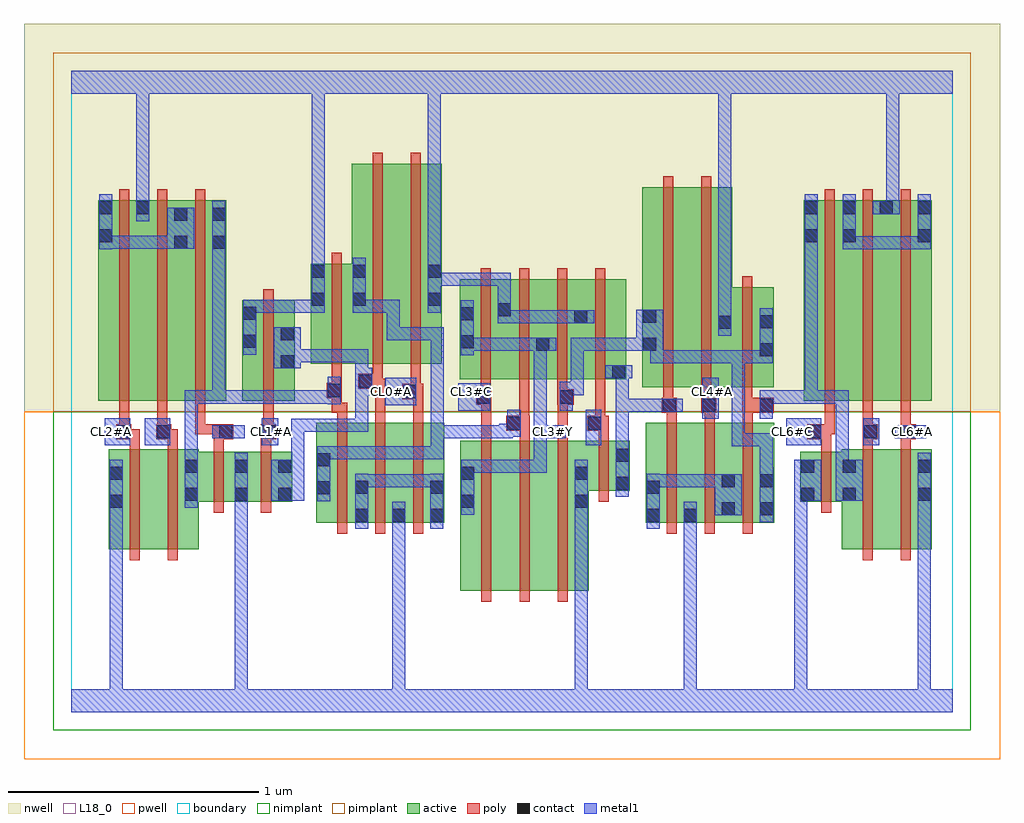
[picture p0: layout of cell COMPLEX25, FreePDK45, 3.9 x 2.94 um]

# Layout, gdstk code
import gdstk
lib = gdstk.Library(unit=1e-6, precision=1e-09)
def R(c, l, rs):  # rectangles x0, y0, x1, y1
    for r in rs: c.add(gdstk.rectangle(r[:2], r[2:], *l))
def A(c, l, x, y, w, h, nx, ny, dx, dy):  # array of equal rectangles
    R(c, l, [(x+i*dx, y+j*dy, x+i*dx+w, y+j*dy+h) for i in range(nx) for j in range(ny)])
active = (1, 0)
pwell = (2, 0)
nwell = (3, 0)
nimplant = (4, 0)
pimplant = (5, 0)
poly = (9, 0)
contact = (10, 0)
metal1 = (11, 0)
L18_0 = (18, 0)
boundary = (235, 0)

complex25 = lib.new_cell('COMPLEX25')
A(complex25, active, 1.7, 1.328, 0.212, 0.4, 3, 1, 0.152, 0)
R(complex25, active, [(1.554,0.484,1.734,1.084), (1.554,0.484,1.614,1.084), (1.734,0.484,1.886,1.084), (1.886,0.484,2.066,1.084), (0.15,0.65,0.33,1.05), (0.33,0.65,0.51,1.05), (3.076,0.65,3.256,1.05), (3.256,0.65,3.436,1.05), (0.15,0.756,0.21,1.05), (0.978,0.756,1.038,1.156), (0.978,0.756,1.19,1.156), (1.13,0.756,1.19,1.156), (1.13,0.756,1.338,1.156), (1.278,0.756,1.338,1.156), (1.278,0.756,1.49,1.156), (1.43,0.756,1.49,1.156), (2.294,0.756,2.354,1.156), (2.294,0.756,2.502,1.156), (2.442,0.756,2.654,1.156), (2.442,0.756,2.502,0.816), (2.594,0.756,2.654,1.156), (2.594,0.756,2.806,1.156), (2.746,0.756,2.806,1.156), (3.376,0.756,3.436,1.05), (2.006,0.812,2.066,1.084), (0.45,0.84,0.51,1.012), (0.45,0.84,0.71,1.04), (0.65,0.84,0.71,1.012), (0.65,0.84,0.882,1.04), (0.822,0.84,0.882,1.04), (2.91,0.84,3.136,1.04), (2.91,0.84,2.97,1.04), (3.076,0.84,3.136,1.012), (2.006,0.884,2.23,1.084), (2.17,0.884,2.23,1.084), (0.108,1.244,0.168,2.044), (0.108,1.244,0.316,2.044), (0.256,1.244,0.468,2.044), (0.408,1.244,0.468,2.044), (0.408,1.244,0.62,2.044), (0.56,1.244,0.62,2.044), (0.684,1.244,0.744,1.644), (0.684,1.244,0.892,1.644), (0.832,1.244,0.892,1.644), (2.924,1.244,2.984,2.044), (2.924,1.244,3.136,2.044), (3.076,1.244,3.136,2.044), (3.076,1.244,3.284,2.044), (3.224,1.244,3.284,2.044), (3.224,1.244,3.436,2.044), (3.376,1.244,3.436,2.044), (2.28,1.296,2.46,2.096), (2.28,1.296,2.34,2.044), (2.46,1.296,2.64,2.096), (2.58,1.296,2.64,2.096), (2.58,1.296,2.804,1.696), (2.744,1.296,2.804,1.696), (1.552,1.328,1.76,1.728), (1.552,1.328,1.612,1.644), (1.7,1.328,1.76,1.644), (1.852,1.328,1.912,1.644), (2.156,1.328,2.216,1.644), (0.956,1.39,1.016,1.79), (0.956,1.39,1.18,1.79), (1.12,1.39,1.18,1.79), (1.12,1.39,1.3,2.19), (1.3,1.39,1.48,2.19), (1.42,1.39,1.48,2.044), (2.004,1.444,2.064,1.728), (0.256,1.686,0.316,2.044)])
R(complex25, pwell, [(-0.188,-0.188,3.708,1.2)])
R(complex25, nwell, [(-0.188,1.2,3.708,2.748)])
R(complex25, nimplant, [(-0.072,-0.072,3.592,1.2)])
R(complex25, pimplant, [(-0.072,1.2,3.592,2.632)])
A(complex25, poly, 1.638, 0.44, 0.04, 0.688, 3, 1, 0.152, 0)
A(complex25, poly, 1.062, 0.712, 0.04, 0.488, 3, 1, 0.152, 0)
A(complex25, poly, 2.378, 0.712, 0.04, 0.488, 3, 1, 0.152, 0)
A(complex25, poly, 0.192, 1.11, 0.04, 0.13, 3, 1, 0.152, 0)
A(complex25, poly, 3.008, 1.11, 0.04, 0.13, 3, 1, 0.152, 0)
A(complex25, poly, 2.378, 1.16, 0.04, 0.076, 3, 1, 0.152, 0)
A(complex25, poly, 0.192, 1.2, 0.04, 0.888, 3, 1, 0.152, 0)
A(complex25, poly, 3.008, 1.2, 0.04, 0.888, 3, 1, 0.152, 0)
A(complex25, poly, 1.636, 1.284, 0.04, 0.488, 4, 1, 0.152, 0)
R(complex25, poly, [(0.234,0.606,0.274,1.094), (0.386,0.606,0.426,1.094), (3.16,0.606,3.2,1.094), (3.312,0.606,3.352,1.094), (0.57,0.796,0.61,1.084), (0.758,0.796,0.798,1.084), (2.994,0.796,3.034,1.084), (2.106,0.84,2.146,1.128), (0.57,1.044,0.61,1.13), (0.758,1.044,0.798,1.13), (2.994,1.044,3.034,1.13), (0.234,1.054,0.274,1.13), (0.386,1.054,0.426,1.13), (3.16,1.054,3.2,1.13), (3.312,1.054,3.352,1.13), (1.638,1.088,1.678,1.268), (1.79,1.088,1.83,1.164), (1.942,1.088,1.982,1.268), (2.106,1.088,2.146,1.164), (0.18,1.09,0.24,1.15), (0.2,1.09,0.24,1.13), (0.2,1.09,0.274,1.13), (0.34,1.09,0.4,1.15), (0.36,1.09,0.4,1.13), (0.36,1.09,0.426,1.13), (0.57,1.09,0.648,1.15), (0.758,1.09,0.818,1.15), (2.938,1.09,3.034,1.15), (3.16,1.09,3.2,1.13), (3.16,1.09,3.2,1.13), (3.16,1.09,3.22,1.15), (3.312,1.09,3.352,1.13), (3.312,1.09,3.352,1.13), (3.312,1.09,3.372,1.15), (0.496,1.11,0.61,1.15), (0.57,1.11,0.61,1.15), (0.768,1.11,0.808,1.24), (0.768,1.11,0.808,1.15), (0.768,1.11,0.808,1.15), (2.994,1.11,3.034,1.15), (2.994,1.11,3.048,1.15), (1.738,1.124,1.83,1.184), (2.06,1.124,2.146,1.184), (1.788,1.144,1.828,1.184), (1.788,1.144,1.828,1.184), (1.788,1.144,1.828,1.324), (2.092,1.144,2.132,1.184), (2.092,1.144,2.132,1.184), (2.092,1.144,2.132,1.324), (1.062,1.16,1.102,1.236), (1.214,1.16,1.254,1.33), (1.366,1.16,1.406,1.29), (1.04,1.196,1.08,1.294), (1.04,1.196,1.102,1.236), (2.358,1.196,2.418,1.256), (2.378,1.196,2.418,1.236), (2.378,1.196,2.418,1.236), (2.516,1.196,2.576,1.256), (2.68,1.196,2.804,1.256), (2.682,1.196,2.722,1.236), (2.682,1.196,2.722,1.236), (0.768,1.2,0.808,1.688), (2.364,1.216,2.404,1.292), (2.516,1.216,2.556,1.256), (2.516,1.216,2.556,1.256), (2.516,1.216,2.556,1.292), (2.68,1.216,2.72,1.292), (1.618,1.228,1.678,1.288), (1.638,1.228,1.678,1.268), (1.638,1.228,1.678,1.268), (1.94,1.228,2.006,1.288), (1.942,1.228,1.982,1.268), (1.942,1.228,1.982,1.268), (1.636,1.248,1.676,1.324), (1.94,1.248,1.98,1.324), (1.322,1.25,1.406,1.31), (2.364,1.252,2.404,2.14), (2.516,1.252,2.556,2.14), (2.68,1.252,2.72,1.74), (1.02,1.254,1.08,1.314), (1.356,1.27,1.396,1.31), (1.356,1.27,1.396,1.31), (1.356,1.27,1.396,1.386), (1.04,1.274,1.08,1.386), (1.146,1.29,1.244,1.35), (1.204,1.29,1.244,1.33), (1.204,1.29,1.254,1.33), (1.204,1.31,1.244,1.386), (1.04,1.346,1.08,1.834), (1.204,1.346,1.244,2.234), (1.356,1.346,1.396,2.234)])
R(complex25, contact, [(1.134,0.76,1.186,0.812), (1.282,0.76,1.334,0.812), (1.434,0.76,1.486,0.812), (2.298,0.76,2.35,0.812), (2.446,0.76,2.498,0.812), (2.598,0.786,2.65,0.838), (2.75,0.786,2.802,0.838), (0.154,0.816,0.206,0.868), (1.558,0.816,1.61,0.868), (2.01,0.816,2.062,0.868), (0.454,0.844,0.506,0.896), (0.654,0.844,0.706,0.896), (0.826,0.844,0.878,0.896), (2.914,0.844,2.966,0.896), (3.08,0.844,3.132,0.896), (3.38,0.844,3.432,0.896), (0.982,0.87,1.034,0.922), (1.134,0.872,1.186,0.924), (1.434,0.872,1.486,0.924), (2.298,0.872,2.35,0.924), (2.174,0.888,2.226,0.94), (2.598,0.898,2.65,0.95), (2.75,0.898,2.802,0.95), (0.154,0.928,0.206,0.98), (1.558,0.928,1.61,0.98), (2.01,0.928,2.062,0.98), (0.454,0.956,0.506,1.008), (0.654,0.956,0.706,1.008), (0.826,0.956,0.878,1.008), (2.914,0.956,2.966,1.008), (3.08,0.956,3.132,1.008), (3.38,0.956,3.432,1.008), (0.982,0.982,1.034,1.034), (2.174,1,2.226,1.052), (0.184,1.094,0.236,1.146), (0.344,1.094,0.396,1.146), (0.592,1.094,0.644,1.146), (0.762,1.094,0.814,1.146), (2.942,1.094,2.994,1.146), (3.164,1.094,3.216,1.146), (3.316,1.094,3.368,1.146), (1.742,1.128,1.794,1.18), (2.064,1.128,2.116,1.18), (2.362,1.2,2.414,1.252), (2.52,1.2,2.572,1.252), (2.748,1.2,2.8,1.252), (1.622,1.232,1.674,1.284), (1.95,1.232,2.002,1.284), (1.326,1.254,1.378,1.306), (1.024,1.258,1.076,1.31), (1.15,1.294,1.202,1.346), (2.16,1.332,2.212,1.384), (0.836,1.372,0.888,1.424), (2.748,1.42,2.8,1.472), (1.856,1.442,1.908,1.494), (2.284,1.442,2.336,1.494), (1.556,1.452,1.608,1.504), (0.688,1.454,0.74,1.506), (0.836,1.484,0.888,1.536), (2.584,1.53,2.636,1.582), (2.748,1.532,2.8,1.584), (2.008,1.552,2.06,1.604), (2.284,1.554,2.336,1.606), (1.556,1.564,1.608,1.616), (0.688,1.566,0.74,1.618), (1.704,1.58,1.756,1.632), (0.96,1.622,1.012,1.674), (1.124,1.622,1.176,1.674), (1.424,1.622,1.476,1.674), (0.96,1.734,1.012,1.786), (1.124,1.734,1.176,1.786), (1.424,1.734,1.476,1.786), (0.412,1.85,0.464,1.902), (0.564,1.85,0.616,1.902), (0.112,1.876,0.164,1.928), (2.928,1.876,2.98,1.928), (3.08,1.876,3.132,1.928), (3.38,1.876,3.432,1.928), (0.412,1.962,0.464,2.014), (0.564,1.962,0.616,2.014), (0.112,1.988,0.164,2.04), (0.26,1.988,0.312,2.04), (2.928,1.988,2.98,2.04), (3.08,1.988,3.132,2.04), (3.228,1.988,3.28,2.04), (3.38,1.988,3.432,2.04)])
R(complex25, metal1, [(0,0,3.52,0.092), (0.154,0.04,0.206,0.84), (0.654,0.04,0.706,0.85), (1.282,0.04,1.334,0.092), (1.282,0.04,1.334,0.092), (1.282,0.04,1.334,0.63), (2.01,0.04,2.062,0.092), (2.01,0.04,2.062,0.092), (2.01,0.04,2.062,0.092), (2.01,0.04,2.062,0.092), (2.01,0.04,2.062,0.092), (2.01,0.04,2.062,0.092), (2.01,0.04,2.062,0.092), (2.01,0.04,2.062,0.092), (2.01,0.04,2.062,0.84), (2.446,0.04,2.498,0.092), (2.446,0.04,2.498,0.092), (2.446,0.04,2.498,0.092), (2.446,0.04,2.498,0.092), (2.446,0.04,2.498,0.092), (2.446,0.04,2.498,0.092), (2.446,0.04,2.498,0.092), (2.446,0.04,2.498,0.092), (2.446,0.04,2.498,0.092), (2.446,0.04,2.498,0.092), (2.446,0.04,2.498,0.092), (2.446,0.04,2.498,0.092), (2.446,0.04,2.498,0.784), (2.886,0.04,2.938,0.092), (2.886,0.04,2.938,0.092), (2.886,0.04,2.938,0.092), (2.886,0.04,2.938,0.092), (2.886,0.04,2.938,0.092), (2.886,0.04,2.938,0.092), (2.886,0.04,2.938,0.092), (2.886,0.04,2.938,0.092), (2.886,0.04,2.938,0.092), (2.886,0.04,2.938,0.092), (2.886,0.04,2.938,0.896), (3.38,0.04,3.432,0.092), (3.38,0.04,3.432,0.092), (3.38,0.04,3.432,0.092), (3.38,0.04,3.432,0.092), (3.38,0.04,3.432,0.092), (3.38,0.04,3.432,0.092), (3.38,0.04,3.432,0.092), (3.38,0.04,3.432,0.092), (3.38,0.04,3.432,0.868), (1.282,0.578,1.334,0.63), (1.282,0.578,1.334,0.63), (1.282,0.578,1.334,0.63), (1.282,0.578,1.334,0.63), (1.282,0.578,1.334,0.63), (1.282,0.578,1.334,0.63), (1.282,0.578,1.334,0.63), (1.282,0.578,1.334,0.63), (1.282,0.578,1.334,0.63), (1.282,0.578,1.334,0.784), (1.134,0.732,1.186,0.952), (1.282,0.732,1.334,0.84), (1.434,0.732,1.486,0.952), (2.298,0.732,2.35,0.952), (2.446,0.732,2.498,0.84), (2.748,0.758,2.802,0.978), (2.57,0.786,2.678,0.95), (0.154,0.788,0.206,0.84), (0.154,0.788,0.206,0.84), (0.154,0.788,0.206,0.84), (0.154,0.788,0.206,0.84), (0.154,0.788,0.206,0.84), (0.154,0.788,0.206,0.84), (0.154,0.788,0.206,0.84), (0.154,0.788,0.206,0.84), (0.154,0.788,0.206,0.84), (0.154,0.788,0.206,0.84), (0.154,0.788,0.206,0.84), (0.154,0.788,0.206,0.84), (0.154,0.788,0.206,1.008), (1.558,0.788,1.61,1.008), (2.01,0.788,2.062,1.008), (0.654,0.798,0.706,0.85), (0.654,0.798,0.706,0.85), (0.654,0.798,0.706,0.85), (0.654,0.798,0.706,0.85), (0.654,0.798,0.706,0.85), (0.654,0.798,0.706,0.85), (0.654,0.798,0.706,0.85), (0.654,0.798,0.706,0.85), (0.654,0.798,0.706,0.85), (0.654,0.798,0.706,0.85), (0.654,0.798,0.706,0.85), (0.654,0.798,0.706,0.85), (0.654,0.798,0.706,0.85), (0.654,0.798,0.706,0.85), (0.654,0.798,0.706,0.85), (0.654,0.798,0.706,0.868), (0.454,0.816,0.506,1.036), (0.654,0.816,0.706,1.036), (3.38,0.816,3.432,0.868), (3.38,0.816,3.432,0.868), (3.38,0.816,3.432,0.868), (3.38,0.816,3.432,0.868), (3.38,0.816,3.432,1.036), (0.982,0.842,1.034,1.062), (0.798,0.844,0.93,1.008), (2.886,0.844,2.938,0.896), (2.886,0.844,2.938,0.896), (2.886,0.844,2.938,0.896), (2.886,0.844,2.938,0.896), (2.886,0.844,2.938,0.896), (2.886,0.844,2.938,0.896), (2.886,0.844,2.994,1.008), (3.052,0.844,3.16,1.008), (2.174,0.86,2.226,1.08), (1.134,0.898,1.186,0.95), (1.134,0.898,1.186,0.95), (1.134,0.898,1.366,0.95), (1.314,0.898,1.366,0.95), (1.314,0.898,1.366,0.95), (1.314,0.898,1.366,0.95), (1.314,0.898,1.486,0.95), (2.298,0.898,2.35,0.95), (2.298,0.898,2.35,0.95), (2.298,0.898,2.512,0.95), (2.46,0.898,2.512,0.95), (2.46,0.898,2.622,0.95), (2.57,0.898,2.622,0.95), (2.57,0.898,2.622,0.95), (2.748,0.926,2.8,1.114), (0.878,0.956,0.93,1.172), (1.558,0.956,1.61,1.008), (1.558,0.956,1.61,1.008), (1.558,0.956,1.72,1.008), (1.668,0.956,1.72,1.008), (1.668,0.956,1.72,1.008), (1.668,0.956,1.72,1.008), (1.668,0.956,1.898,1.008), (1.846,0.956,1.898,1.008), (1.846,0.956,1.898,1.146), (3.052,0.956,3.104,1.284), (0.454,0.984,0.506,1.036), (0.454,0.984,0.506,1.036), (0.454,0.984,0.506,1.284), (0.982,1.01,1.04,1.062), (0.988,1.01,1.04,1.062), (0.988,1.01,1.196,1.062), (1.144,1.01,1.196,1.062), (1.144,1.01,1.196,1.062), (1.144,1.01,1.196,1.062), (1.144,1.01,1.366,1.062), (1.314,1.01,1.366,1.062), (1.314,1.01,1.366,1.062), (1.314,1.01,1.366,1.062), (1.314,1.01,1.488,1.062), (1.436,1.01,1.488,1.062), (1.436,1.01,1.488,1.146), (2.174,1.028,2.226,1.252), (2.638,1.062,2.69,1.114), (2.638,1.062,2.796,1.114), (2.638,1.062,2.69,1.444), (2.744,1.062,2.796,1.114), (2.744,1.062,2.8,1.114), (2.748,1.062,2.8,1.114), (0.134,1.066,0.236,1.174), (0.294,1.066,0.396,1.174), (0.762,1.066,0.826,1.174), (2.054,1.066,2.116,1.208), (2.854,1.066,2.994,1.174), (3.162,1.066,3.226,1.174), (0.564,1.094,0.694,1.146), (1.436,1.094,1.488,1.146), (1.436,1.094,1.488,1.146), (1.436,1.094,1.488,1.146), (1.436,1.094,1.598,1.146), (1.436,1.094,1.488,1.536), (1.546,1.094,1.598,1.146), (1.546,1.094,1.762,1.146), (1.71,1.094,1.762,1.152), (1.846,1.094,1.898,1.146), (1.846,1.094,1.898,1.146), (1.846,1.094,1.898,1.494), (1.846,1.094,1.974,1.146), (3.288,1.094,3.414,1.146), (1.71,1.1,1.794,1.152), (1.742,1.1,1.794,1.208), (0.878,1.12,0.93,1.172), (0.878,1.12,1.066,1.172), (1.014,1.12,1.066,1.172), (1.014,1.12,1.066,1.172), (1.014,1.12,1.066,1.172), (1.014,1.12,1.186,1.172), (1.134,1.12,1.186,1.172), (1.134,1.12,1.186,1.374), (2.52,1.172,2.586,1.334), (2.748,1.172,2.8,1.28), (2.174,1.2,2.226,1.252), (2.174,1.2,2.226,1.252), (2.174,1.2,2.226,1.252), (2.174,1.2,2.386,1.252), (2.174,1.2,2.226,1.384), (2.334,1.2,2.386,1.252), (2.334,1.2,2.386,1.252), (2.334,1.2,2.442,1.252), (1.546,1.204,1.674,1.312), (1.95,1.204,2.002,1.318), (1.254,1.226,1.378,1.334), (2.748,1.228,2.8,1.28), (2.748,1.228,2.8,1.284), (1.024,1.23,1.076,1.338), (0.454,1.232,0.506,1.284), (0.454,1.232,0.596,1.284), (0.544,1.232,0.596,1.284), (0.544,1.232,0.616,1.284), (0.564,1.232,0.616,1.284), (0.564,1.232,0.74,1.284), (0.564,1.232,0.616,1.874), (0.688,1.232,0.74,1.284), (0.688,1.232,0.902,1.284), (0.85,1.232,0.902,1.284), (0.85,1.232,0.902,1.284), (0.85,1.232,0.902,1.284), (0.85,1.232,1.012,1.284), (0.96,1.232,1.012,1.284), (0.96,1.232,1.076,1.284), (2.748,1.232,2.98,1.284), (2.928,1.232,2.98,1.284), (2.928,1.232,2.98,1.284), (2.928,1.232,2.98,1.284), (2.928,1.232,3.104,1.284), (2.928,1.232,2.98,1.9), (3.052,1.232,3.104,1.284), (3.052,1.232,3.104,1.284), (3.052,1.232,3.104,1.284), (1.15,1.266,1.202,1.374), (1.95,1.266,2.046,1.318), (1.994,1.266,2.046,1.318), (1.994,1.266,2.046,1.318), (1.994,1.266,2.046,1.318), (1.994,1.266,2.046,1.494), (1.134,1.322,1.186,1.374), (1.134,1.322,1.202,1.374), (1.134,1.322,1.186,1.448), (2.132,1.332,2.24,1.384), (0.808,1.372,0.916,1.536), (2.312,1.392,2.364,1.444), (2.312,1.392,2.364,1.444), (2.312,1.392,2.364,1.444), (2.312,1.392,2.496,1.444), (2.312,1.392,2.364,1.494), (2.444,1.392,2.496,1.444), (2.444,1.392,2.496,1.444), (2.444,1.392,2.496,1.444), (2.444,1.392,2.69,1.444), (2.638,1.392,2.69,1.444), (2.638,1.392,2.69,1.444), (2.638,1.392,2.69,1.444), (2.638,1.392,2.8,1.444), (2.748,1.392,2.8,1.444), (2.748,1.392,2.8,1.444), (2.748,1.392,2.8,1.612), (0.864,1.396,1.04,1.448), (0.988,1.396,1.04,1.448), (0.988,1.396,1.04,1.448), (0.988,1.396,1.04,1.448), (0.988,1.396,1.186,1.448), (1.134,1.396,1.186,1.448), (1.556,1.424,1.608,1.644), (0.688,1.426,0.74,1.646), (1.556,1.442,1.608,1.494), (1.556,1.442,1.608,1.494), (1.556,1.442,1.72,1.494), (1.668,1.442,1.72,1.494), (1.668,1.442,1.72,1.494), (1.668,1.442,1.72,1.494), (1.668,1.442,1.88,1.494), (1.828,1.442,1.936,1.494), (1.994,1.442,2.046,1.494), (1.994,1.442,2.198,1.494), (2.146,1.442,2.198,1.494), (2.146,1.442,2.198,1.494), (2.146,1.442,2.198,1.494), (2.146,1.442,2.308,1.494), (2.256,1.442,2.364,1.606), (1.26,1.484,1.312,1.536), (1.26,1.484,1.312,1.536), (1.26,1.484,1.312,1.536), (1.26,1.484,1.488,1.536), (1.26,1.484,1.312,1.646), (1.436,1.484,1.488,1.536), (2.584,1.502,2.636,1.61), (1.704,1.552,1.756,1.604), (1.704,1.552,1.756,1.604), (1.704,1.552,1.756,1.66), (1.704,1.552,1.904,1.604), (1.852,1.552,1.904,1.604), (1.852,1.552,1.904,1.604), (1.852,1.552,1.904,1.604), (1.852,1.552,2.032,1.604), (1.98,1.552,2.088,1.604), (2.584,1.558,2.636,2.52), (0.688,1.594,0.74,1.646), (0.688,1.594,0.74,1.646), (0.688,1.594,0.85,1.646), (0.798,1.594,0.85,1.646), (0.798,1.594,1.012,1.646), (0.96,1.594,1.012,1.814), (1.124,1.594,1.176,1.814), (1.124,1.594,1.196,1.646), (1.144,1.594,1.196,1.646), (1.144,1.594,1.312,1.646), (1.26,1.594,1.312,1.646), (1.26,1.594,1.312,1.646), (1.26,1.594,1.312,1.646), (1.424,1.594,1.476,1.814), (1.704,1.608,1.756,1.754), (1.424,1.702,1.598,1.754), (1.546,1.702,1.598,1.754), (1.546,1.702,1.598,1.754), (1.546,1.702,1.598,1.754), (1.546,1.702,1.598,1.754), (1.546,1.702,1.598,1.754), (1.546,1.702,1.598,1.754), (1.546,1.702,1.598,1.754), (1.546,1.702,1.598,1.754), (1.546,1.702,1.598,1.754), (1.546,1.702,1.756,1.754), (1.704,1.702,1.756,1.754), (0.96,1.762,1.012,1.814), (0.96,1.762,1.012,1.814), (0.96,1.762,1.012,1.84), (1.424,1.762,1.476,2.52), (0.96,1.788,1.012,1.84), (0.96,1.788,1.012,1.84), (0.96,1.788,1.012,1.84), (0.96,1.788,1.012,1.84), (0.96,1.788,1.012,1.84), (0.96,1.788,1.012,1.84), (0.96,1.788,1.012,1.84), (0.96,1.788,1.012,1.84), (0.96,1.788,1.012,1.84), (0.96,1.788,1.012,1.84), (0.96,1.788,1.012,1.84), (0.96,1.788,1.012,2.52), (0.564,1.822,0.616,2.042), (0.112,1.848,0.164,2.068), (2.928,1.848,2.98,2.068), (3.08,1.848,3.132,1.9), (3.08,1.848,3.132,1.9), (3.08,1.848,3.132,2.068), (3.08,1.848,3.322,1.9), (3.27,1.848,3.322,1.9), (3.27,1.848,3.432,1.9), (3.38,1.848,3.432,1.9), (3.38,1.848,3.432,1.9), (3.38,1.848,3.432,2.068), (0.112,1.85,0.164,1.902), (0.112,1.85,0.164,1.902), (0.112,1.85,0.326,1.902), (0.274,1.85,0.326,1.902), (0.274,1.85,0.436,1.902), (0.384,1.85,0.436,1.902), (0.384,1.85,0.436,1.902), (0.384,1.85,0.492,2.014), (0.26,1.96,0.312,2.068), (3.2,1.988,3.308,2.04), (3.254,1.988,3.306,2.04), (3.254,1.988,3.306,2.04), (3.254,1.988,3.306,2.04), (3.254,1.988,3.306,2.04), (3.254,1.988,3.306,2.04), (3.254,1.988,3.306,2.04), (3.254,1.988,3.306,2.52), (0.26,2.016,0.312,2.068), (0.26,2.016,0.312,2.068), (0.26,2.016,0.312,2.068), (0.26,2.016,0.312,2.068), (0.26,2.016,0.312,2.068), (0.26,2.016,0.312,2.068), (0.26,2.016,0.312,2.068), (0.26,2.016,0.312,2.068), (0.26,2.016,0.312,2.52), (0,2.468,3.52,2.56), (0.96,2.468,1.012,2.52), (0.96,2.468,1.012,2.52), (1.424,2.468,1.476,2.52), (1.424,2.468,1.476,2.52), (1.424,2.468,1.476,2.52), (1.424,2.468,1.476,2.52), (1.424,2.468,1.476,2.52), (1.424,2.468,1.476,2.52), (1.424,2.468,1.476,2.52), (1.424,2.468,1.476,2.52), (2.584,2.468,2.636,2.52), (2.584,2.468,2.636,2.52), (2.584,2.468,2.636,2.52), (2.584,2.468,2.636,2.52), (2.584,2.468,2.636,2.52), (2.584,2.468,2.636,2.52), (2.584,2.468,2.636,2.52), (2.584,2.468,2.636,2.52), (3.254,2.468,3.306,2.52), (3.254,2.468,3.306,2.52)])
R(complex25, L18_0, [(0,0,3.52,0.092), (0.154,0.04,0.206,0.84), (0.654,0.04,0.706,0.85), (1.282,0.04,1.334,0.092), (1.282,0.04,1.334,0.092), (1.282,0.04,1.334,0.63), (2.01,0.04,2.062,0.092), (2.01,0.04,2.062,0.092), (2.01,0.04,2.062,0.092), (2.01,0.04,2.062,0.092), (2.01,0.04,2.062,0.092), (2.01,0.04,2.062,0.092), (2.01,0.04,2.062,0.092), (2.01,0.04,2.062,0.092), (2.01,0.04,2.062,0.84), (2.446,0.04,2.498,0.092), (2.446,0.04,2.498,0.092), (2.446,0.04,2.498,0.092), (2.446,0.04,2.498,0.092), (2.446,0.04,2.498,0.092), (2.446,0.04,2.498,0.092), (2.446,0.04,2.498,0.092), (2.446,0.04,2.498,0.092), (2.446,0.04,2.498,0.092), (2.446,0.04,2.498,0.092), (2.446,0.04,2.498,0.092), (2.446,0.04,2.498,0.092), (2.446,0.04,2.498,0.784), (2.886,0.04,2.938,0.092), (2.886,0.04,2.938,0.092), (2.886,0.04,2.938,0.092), (2.886,0.04,2.938,0.092), (2.886,0.04,2.938,0.092), (2.886,0.04,2.938,0.092), (2.886,0.04,2.938,0.092), (2.886,0.04,2.938,0.092), (2.886,0.04,2.938,0.092), (2.886,0.04,2.938,0.092), (2.886,0.04,2.938,0.896), (3.38,0.04,3.432,0.092), (3.38,0.04,3.432,0.092), (3.38,0.04,3.432,0.092), (3.38,0.04,3.432,0.092), (3.38,0.04,3.432,0.092), (3.38,0.04,3.432,0.092), (3.38,0.04,3.432,0.092), (3.38,0.04,3.432,0.092), (3.38,0.04,3.432,0.868), (1.282,0.578,1.334,0.63), (1.282,0.578,1.334,0.63), (1.282,0.578,1.334,0.63), (1.282,0.578,1.334,0.63), (1.282,0.578,1.334,0.63), (1.282,0.578,1.334,0.63), (1.282,0.578,1.334,0.63), (1.282,0.578,1.334,0.63), (1.282,0.578,1.334,0.63), (1.282,0.578,1.334,0.784), (1.282,0.732,1.334,0.84), (2.446,0.732,2.498,0.84), (0.154,0.788,0.206,0.84), (0.154,0.788,0.206,0.84), (0.154,0.788,0.206,0.84), (0.154,0.788,0.206,0.84), (0.154,0.788,0.206,0.84), (0.154,0.788,0.206,0.84), (0.154,0.788,0.206,0.84), (0.154,0.788,0.206,0.84), (0.154,0.788,0.206,0.84), (0.154,0.788,0.206,0.84), (0.154,0.788,0.206,0.84), (0.154,0.788,0.206,0.84), (0.154,0.788,0.206,1.008), (1.558,0.788,1.61,1.008), (2.01,0.788,2.062,1.008), (0.654,0.798,0.706,0.85), (0.654,0.798,0.706,0.85), (0.654,0.798,0.706,0.85), (0.654,0.798,0.706,0.85), (0.654,0.798,0.706,0.85), (0.654,0.798,0.706,0.85), (0.654,0.798,0.706,0.85), (0.654,0.798,0.706,0.85), (0.654,0.798,0.706,0.85), (0.654,0.798,0.706,0.85), (0.654,0.798,0.706,0.85), (0.654,0.798,0.706,0.85), (0.654,0.798,0.706,0.85), (0.654,0.798,0.706,0.85), (0.654,0.798,0.706,0.85), (0.654,0.798,0.706,0.868), (0.654,0.816,0.706,1.036), (3.38,0.816,3.432,0.868), (3.38,0.816,3.432,0.868), (3.38,0.816,3.432,0.868), (3.38,0.816,3.432,0.868), (3.38,0.816,3.432,1.036), (2.886,0.844,2.938,0.896), (2.886,0.844,2.938,0.896), (2.886,0.844,2.938,0.896), (2.886,0.844,2.938,0.896), (2.886,0.844,2.938,0.896), (2.886,0.844,2.938,0.896), (2.886,0.844,2.994,1.008), (1.558,0.956,1.61,1.008), (1.558,0.956,1.61,1.008), (1.558,0.956,1.72,1.008), (1.668,0.956,1.72,1.008), (1.668,0.956,1.72,1.008), (1.668,0.956,1.72,1.008), (1.668,0.956,1.898,1.008), (1.846,0.956,1.898,1.008), (1.846,0.956,1.898,1.146), (0.134,1.066,0.236,1.174), (0.294,1.066,0.396,1.174), (0.762,1.066,0.826,1.174), (2.054,1.066,2.116,1.208), (2.854,1.066,2.994,1.174), (3.162,1.066,3.226,1.174), (0.134,1.094,0.186,1.146), (0.294,1.094,0.346,1.146), (0.564,1.094,0.694,1.146), (0.614,1.094,0.666,1.146), (0.774,1.094,0.826,1.146), (1.846,1.094,1.898,1.146), (1.846,1.094,1.898,1.146), (1.846,1.094,1.974,1.146), (1.846,1.094,1.898,1.494), (1.894,1.094,1.946,1.146), (2.054,1.094,2.106,1.146), (2.854,1.094,2.906,1.146), (3.174,1.094,3.226,1.146), (3.288,1.094,3.414,1.146), (3.334,1.094,3.386,1.146), (2.52,1.172,2.586,1.334), (1.546,1.204,1.674,1.312), (1.254,1.226,1.378,1.334), (1.254,1.254,1.306,1.306), (1.574,1.254,1.626,1.306), (2.534,1.254,2.586,1.306), (1.556,1.424,1.608,1.644), (0.688,1.426,0.74,1.646), (1.556,1.442,1.608,1.494), (1.556,1.442,1.608,1.494), (1.556,1.442,1.72,1.494), (1.668,1.442,1.72,1.494), (1.668,1.442,1.72,1.494), (1.668,1.442,1.72,1.494), (1.668,1.442,1.88,1.494), (1.828,1.442,1.936,1.494), (2.584,1.502,2.636,1.61), (1.704,1.552,1.756,1.604), (1.704,1.552,1.756,1.604), (1.704,1.552,1.756,1.66), (1.704,1.552,1.904,1.604), (1.852,1.552,1.904,1.604), (1.852,1.552,1.904,1.604), (1.852,1.552,1.904,1.604), (1.852,1.552,2.032,1.604), (1.98,1.552,2.088,1.604), (2.584,1.558,2.636,2.52), (0.688,1.594,0.74,1.646), (0.688,1.594,0.74,1.646), (0.688,1.594,0.85,1.646), (0.798,1.594,0.85,1.646), (0.798,1.594,1.012,1.646), (0.96,1.594,1.012,1.814), (1.424,1.594,1.476,1.814), (1.704,1.608,1.756,1.754), (1.424,1.702,1.598,1.754), (1.546,1.702,1.598,1.754), (1.546,1.702,1.598,1.754), (1.546,1.702,1.598,1.754), (1.546,1.702,1.598,1.754), (1.546,1.702,1.598,1.754), (1.546,1.702,1.598,1.754), (1.546,1.702,1.598,1.754), (1.546,1.702,1.598,1.754), (1.546,1.702,1.598,1.754), (1.546,1.702,1.756,1.754), (1.704,1.702,1.756,1.754), (0.96,1.762,1.012,1.814), (0.96,1.762,1.012,1.814), (0.96,1.762,1.012,1.84), (1.424,1.762,1.476,2.52), (0.96,1.788,1.012,1.84), (0.96,1.788,1.012,1.84), (0.96,1.788,1.012,1.84), (0.96,1.788,1.012,1.84), (0.96,1.788,1.012,1.84), (0.96,1.788,1.012,1.84), (0.96,1.788,1.012,1.84), (0.96,1.788,1.012,1.84), (0.96,1.788,1.012,1.84), (0.96,1.788,1.012,1.84), (0.96,1.788,1.012,1.84), (0.96,1.788,1.012,2.52), (0.26,1.96,0.312,2.068), (3.2,1.988,3.308,2.04), (3.254,1.988,3.306,2.04), (3.254,1.988,3.306,2.04), (3.254,1.988,3.306,2.04), (3.254,1.988,3.306,2.04), (3.254,1.988,3.306,2.04), (3.254,1.988,3.306,2.04), (3.254,1.988,3.306,2.52), (0.26,2.016,0.312,2.068), (0.26,2.016,0.312,2.068), (0.26,2.016,0.312,2.068), (0.26,2.016,0.312,2.068), (0.26,2.016,0.312,2.068), (0.26,2.016,0.312,2.068), (0.26,2.016,0.312,2.068), (0.26,2.016,0.312,2.068), (0.26,2.016,0.312,2.52), (0,2.468,3.52,2.56), (0.96,2.468,1.012,2.52), (0.96,2.468,1.012,2.52), (1.424,2.468,1.476,2.52), (1.424,2.468,1.476,2.52), (1.424,2.468,1.476,2.52), (1.424,2.468,1.476,2.52), (1.424,2.468,1.476,2.52), (1.424,2.468,1.476,2.52), (1.424,2.468,1.476,2.52), (1.424,2.468,1.476,2.52), (2.584,2.468,2.636,2.52), (2.584,2.468,2.636,2.52), (2.584,2.468,2.636,2.52), (2.584,2.468,2.636,2.52), (2.584,2.468,2.636,2.52), (2.584,2.468,2.636,2.52), (2.584,2.468,2.636,2.52), (2.584,2.468,2.636,2.52), (3.254,2.468,3.306,2.52), (3.254,2.468,3.306,2.52)])
R(complex25, boundary, [(0,0,3.52,2.56)])
complex25.add(gdstk.Label('CL0#A', (1.28,1.28), layer=11, texttype=0))
complex25.add(gdstk.Label('CL1#A', (0.8,1.12), layer=11, texttype=0))
complex25.add(gdstk.Label('CL2#A', (0.16,1.12), layer=11, texttype=0))
complex25.add(gdstk.Label('CL2#B', (0.32,1.12), layer=11, texttype=0))
complex25.add(gdstk.Label('CL2#C', (0.64,1.12), layer=11, texttype=0))
complex25.add(gdstk.Label('CL3#C', (1.6,1.28), layer=11, texttype=0))
complex25.add(gdstk.Label('CL3#Y', (1.92,1.12), layer=11, texttype=0))
complex25.add(gdstk.Label('CL4#A', (2.56,1.28), layer=11, texttype=0))
complex25.add(gdstk.Label('CL5#A', (2.08,1.12), layer=11, texttype=0))
complex25.add(gdstk.Label('CL6#A', (3.36,1.12), layer=11, texttype=0))
complex25.add(gdstk.Label('CL6#B', (3.2,1.12), layer=11, texttype=0))
complex25.add(gdstk.Label('CL6#C', (2.88,1.12), layer=11, texttype=0))

lib.write_gds('COMPLEX25.gds')
